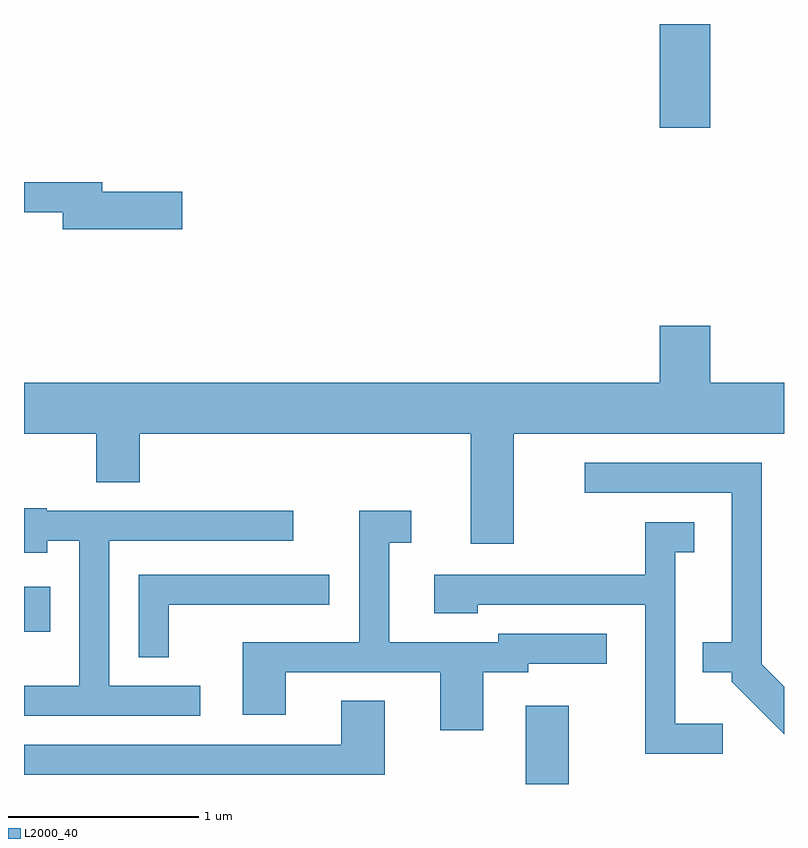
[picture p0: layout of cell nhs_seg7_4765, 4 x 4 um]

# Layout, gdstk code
import gdstk
lib = gdstk.Library(unit=1e-6, precision=1e-09)
def R(c, l, rs):  # rectangles x0, y0, x1, y1
    for r in rs: c.add(gdstk.rectangle(r[:2], r[2:], *l))
def P(c, l, *ps):  # polygons
    for p in ps: c.add(gdstk.Polygon(p, *l))
L2000_40 = (2000, 40)

nhs_seg7_4765 = lib.new_cell('nhs_seg7_4765')
R(nhs_seg7_4765, L2000_40, [(334.251,1710.252,334.479,1710.664), (331.611,1711.053,331.749,1711.289), (334.956,1713.706,335.224,1714.252)])
P(nhs_seg7_4765, L2000_40, [(332.444,1713.369),(332.024,1713.369),(332.024,1713.419),(331.611,1713.419),(331.611,1713.261),(331.816,1713.261),(331.816,1713.171),(332.444,1713.171)],
  [(334.189,1712.096),(335.611,1712.096),(335.611,1712.364),(335.224,1712.364),(335.224,1712.664),(334.956,1712.664),(334.956,1712.364),(331.611,1712.364),(331.611,1712.096),(331.991,1712.096),(331.991,1711.841),(332.219,1711.841),(332.219,1712.096),(333.961,1712.096),(333.961,1711.516),(334.189,1711.516)],
  [(335.611,1710.765),(335.494,1710.882),(335.494,1711.944),(334.563,1711.944),(334.563,1711.786),(335.336,1711.786),(335.336,1710.999),(335.183,1710.999),(335.183,1710.841),(335.336,1710.841),(335.336,1710.789),(335.611,1710.514)],
  [(332.538,1710.769),(332.059,1710.769),(332.059,1711.531),(333.028,1711.531),(333.028,1711.689),(331.73,1711.689),(331.73,1711.704),(331.611,1711.704),(331.611,1711.468),(331.734,1711.468),(331.734,1711.531),(331.901,1711.531),(331.901,1710.769),(331.611,1710.769),(331.611,1710.611),(332.538,1710.611)],
  [(334.029,1710.841),(334.264,1710.841),(334.264,1710.886),(334.678,1710.886),(334.678,1711.044),(334.106,1711.044),(334.106,1710.999),(333.534,1710.999),(333.534,1711.521),(333.648,1711.521),(333.648,1711.689),(333.376,1711.689),(333.376,1710.999),(332.761,1710.999),(332.761,1710.616),(332.989,1710.616),(332.989,1710.841),(333.801,1710.841),(333.801,1710.536),(334.029,1710.536)],
  [(335.288,1710.569),(335.039,1710.569),(335.039,1711.471),(335.138,1711.471),(335.138,1711.629),(334.881,1711.629),(334.881,1711.354),(333.771,1711.354),(333.771,1711.151),(333.999,1711.151),(333.999,1711.196),(334.881,1711.196),(334.881,1710.411),(335.288,1710.411)],
  [(332.374,1711.196),(333.218,1711.196),(333.218,1711.354),(332.216,1711.354),(332.216,1710.918),(332.374,1710.918)],
  [(333.509,1710.689),(333.281,1710.689),(333.281,1710.459),(331.611,1710.459),(331.611,1710.301),(333.509,1710.301)])

lib.write_gds('nhs_seg7_4765.gds')
